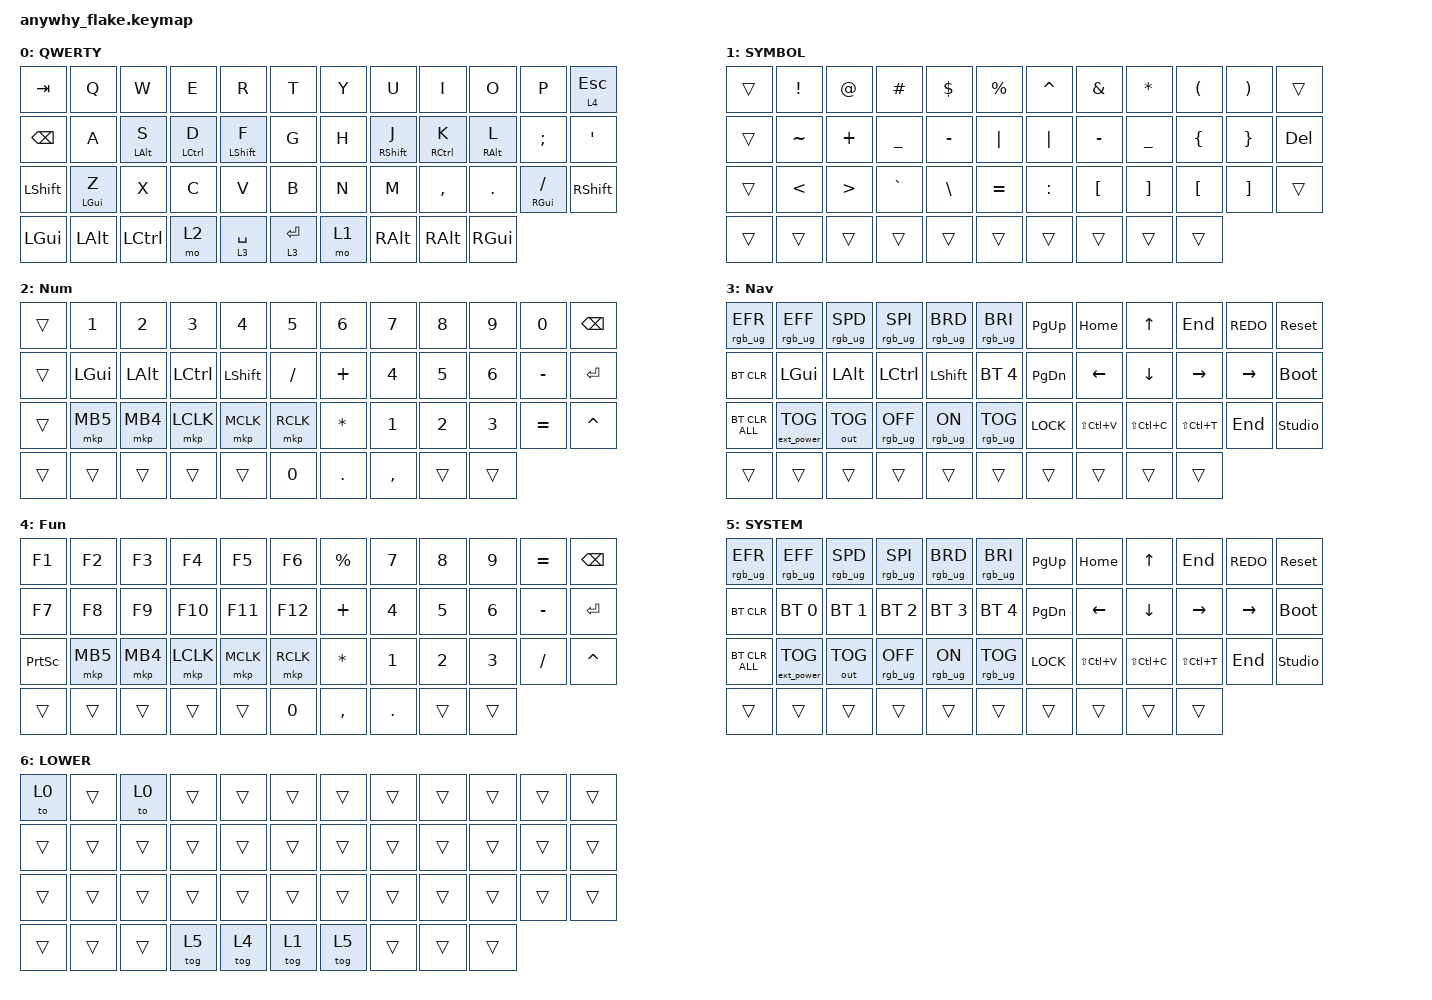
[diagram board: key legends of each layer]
#include <input/processors.dtsi>
#include <behaviors.dtsi>
#include <dt-bindings/zmk/bt.h>
#include <dt-bindings/zmk/ext_power.h>
#include <dt-bindings/zmk/keys.h>
#include <dt-bindings/zmk/outputs.h>
#include <dt-bindings/zmk/pointing.h>
#include <dt-bindings/zmk/rgb.h>

/*

   &mmv_input_listener {
       input-processors = <&zip_xy_scaler 2 1>;
   };

   &msc_input_listener {
       input-processors = <&zip_xy_scaler 2 1>;
   };

 */

/* pointing.h already defines these; undef first to avoid a redefinition warning */
#undef ZMK_POINTING_DEFAULT_MOVE_VAL
#undef ZMK_POINTING_DEFAULT_SCRL_VAL

#define ZMK_POINTING_DEFAULT_MOVE_VAL 1200  // 600
#define ZMK_POINTING_DEFAULT_SCRL_VAL 20    // 10

/ {
    conditional_layers {
        compatible = "zmk,conditional-layers";

        system_layer {
            // Num + symbol held together -> system
            if-layers = <2 1>;
            then-layer = <5>;
        };
    };

    behaviors {
        td0: td0 {
            compatible = "zmk,behavior-tap-dance";
            display-name = "Shift/Caps Lock Tap Dance";
            #binding-cells = <0>;
            bindings = <&kp LEFT_SHIFT>, <&kp CAPS>;
        };

        hrm_left: hrm_left {
            compatible = "zmk,behavior-hold-tap";
            label = "HRM_LEFT";
            bindings = <&kp>, <&kp>;

            #binding-cells = <2>;
            flavor = "balanced";
            tapping-term-ms = <280>;
            quick-tap-ms = <175>;
            require-prior-idle-ms = <175>;
            hold-trigger-on-release;
            hold-trigger-key-positions = <6 7 8 9 10 11 18 19 20 21 22 23 30 31 32 33 34 35 38 39 40 41 42 43>;
        };

        hrm_right: hrm_right {
            compatible = "zmk,behavior-hold-tap";
            label = "HRM_RIGHT";
            bindings = <&kp>, <&kp>;

            #binding-cells = <2>;
            flavor = "balanced";
            tapping-term-ms = <280>;
            quick-tap-ms = <175>;
            require-prior-idle-ms = <175>;
            hold-trigger-on-release;
            hold-trigger-key-positions = <0 1 2 3 4 5 12 13 14 15 16 17 24 25 26 27 28 29 38 39 40 41 42 43>;
        };

        layer_tap: layer_tap {
            compatible = "zmk,behavior-hold-tap";
            label = "LAYER_TAP";
            bindings = <&mo>, <&kp>;

            #binding-cells = <2>;
            quick-tap-ms = <175>;
            flavor = "tap-preferred";
            tapping-term-ms = <280>;
        };
    };


    combos {
        compatible = "zmk,combos";

        combo_lbrc {
            timeout-ms = <50>;
            key-positions = <4 5>; // KP: VB
            bindings = <&mt RBRC LBRC>;
            layers = <0 1 2 3 4 5>;
        };

        combo_rbrc {
            timeout-ms = <50>;
            key-positions = <6 7>; // KP: NM
            bindings = <&kp RBRC>;
            layers = <0 1 2 3 4 5>;
        };

        combo_lpar {
            timeout-ms = <50>;
            key-positions = <16 17>; // KP: FG
            bindings = <&mt RPAR LPAR>;
            layers = <0 1 2 3 4 5>;
        };

        combo_rpar {
            timeout-ms = <50>;
            key-positions = <18 19>;
            bindings = <&kp RPAR>;
            layers = <0 1 2 3 4 5>;
        };

        combo_lbkt {
            timeout-ms = <50>;
            key-positions = <28 29>; // KP: RT
            bindings = <&mt RBKT LBKT>;
            layers = <0 1 2 3 4 5>;
        };

        combo_rbkt {
            timeout-ms = <50>;
            key-positions = <30 31>; // KP: YU
            bindings = <&kp RBKT>;
            layers = <0 1 2 3 4 5>;
        };

        esc {
            timeout-ms = <50>;
            key-positions = <0 1>;
            bindings = <&kp ESC>; // ESC
            layers = <0>;
        };

        up {
            bindings = <&kp UP>;
            key-positions = <3 4>;
            layers = <0>;
            timeout-ms = <50>;
        };

        down {
            bindings = <&kp DOWN>;
            key-positions = <27 28>;
            timeout-ms = <50>;
            layers = <0>;
        };

        left {
            bindings = <&kp LEFT>;
            key-positions = <14 15>;
            layers = <0>;
            timeout-ms = <50>;
        };

        right {
            bindings = <&kp RIGHT>;
            key-positions = <15 16>;
            layers = <0>;
            timeout-ms = <50>;
        };
    };


    keymap {
        compatible = "zmk,keymap";

        qwerty {
            display-name = "QWERTY";
            bindings = <
  &kp TAB  &kp Q  &kp W  &kp E  &kp R  &kp T  &kp Y  &kp U  &kp I  &kp O  &kp P  &lt 4 ESC
  &kp BACKSPACE  &kp A  &hrm_left LALT S  &hrm_left LCTRL D  &hrm_left LSHFT F  &kp G  &kp H  &hrm_right RSHFT J  &hrm_right RCTRL K  &hrm_right RALT L  &kp SEMICOLON  &kp SQT
  &kp LEFT_SHIFT  &hrm_left LEFT_GUI Z  &kp X  &kp C  &kp V  &kp B  &kp N  &kp M  &kp COMMA  &kp DOT  &hrm_right RIGHT_GUI SLASH  &kp RIGHT_SHIFT
  &kp LEFT_GUI  &kp LEFT_ALT  &kp LEFT_CONTROL  &mo 2  &layer_tap 3 SPACE  &layer_tap 3 ENTER  &mo 1  &kp RIGHT_ALT  &kp RIGHT_ALT  &kp RIGHT_GUI
            >;
        };

        symbol {
            label = "SYMBOL";
            bindings = <
  &trans  &kp EXCLAMATION  &kp AT_SIGN  &kp HASH  &kp DOLLAR  &kp PERCENT  &kp CARET  &kp AMPERSAND  &kp ASTERISK  &kp LEFT_PARENTHESIS  &kp RIGHT_PARENTHESIS  &trans
  &trans  &kp TILDE  &kp PLUS  &kp UNDERSCORE  &kp MINUS  &kp PIPE  &kp PIPE  &kp MINUS  &kp UNDERSCORE  &kp LEFT_BRACE  &kp RIGHT_BRACE  &kp DELETE
  &trans  &kp LESS_THAN  &kp GREATER_THAN  &kp GRAVE  &kp BACKSLASH  &kp EQUAL  &kp COLON  &kp LEFT_BRACKET  &kp RIGHT_BRACKET  &kp LEFT_BRACKET  &kp RIGHT_BRACKET  &trans
  &trans  &trans  &trans  &trans  &trans  &trans  &trans  &trans  &trans  &trans
            >;
        };

        Num {
            label = "Num";
            bindings = <
  &trans  &kp N1  &kp N2  &kp N3  &kp N4  &kp N5  &kp N6  &kp N7  &kp N8  &kp N9  &kp N0  &kp BACKSPACE
  &trans  &kp LEFT_GUI  &kp LEFT_ALT  &kp LEFT_CONTROL  &kp LEFT_SHIFT  &kp SLASH  &kp PLUS  &kp N4  &kp N5  &kp N6  &kp MINUS  &kp ENTER
  &trans  &mkp MB5  &mkp MB4  &mkp LCLK  &mkp MCLK  &mkp RCLK  &kp ASTERISK  &kp N1  &kp N2  &kp N3  &kp EQUAL  &kp CARET
  &trans  &trans  &trans  &trans  &trans  &kp N0  &kp PERIOD  &kp COMMA  &trans  &trans
            >;
        };

        Nav {
            display-name = "Nav";
            bindings = <
  &rgb_ug RGB_EFR  &rgb_ug RGB_EFF  &rgb_ug RGB_SPD  &rgb_ug RGB_SPI  &rgb_ug RGB_BRD  &rgb_ug RGB_BRI  &kp PAGE_UP  &kp HOME  &kp UP_ARROW  &kp END  &kp K_REDO  &sys_reset
  &bt BT_CLR  &kp LEFT_GUI  &kp LEFT_ALT  &kp LEFT_CONTROL  &kp LEFT_SHIFT  &bt BT_SEL 4  &kp PAGE_DOWN  &kp LEFT_ARROW  &kp DOWN_ARROW  &kp RIGHT  &kp RIGHT  &bootloader
  &bt BT_CLR_ALL  &ext_power EP_TOG  &out OUT_TOG  &rgb_ug RGB_OFF  &rgb_ug RGB_ON  &rgb_ug RGB_TOG  &kp K_LOCK  &kp LS(LC(V))  &kp LS(LC(C))  &kp LS(LC(T))  &kp END  &studio_unlock
  &trans  &trans  &trans  &trans  &trans  &trans  &trans  &trans  &trans  &trans
            >;
        };

        Fun {
            label = "Fun";
            bindings = <
  &kp F1  &kp F2  &kp F3  &kp F4  &kp F5  &kp F6  &kp PERCENT  &kp N7  &kp N8  &kp N9  &kp EQUAL  &kp BACKSPACE
  &kp F7  &kp F8  &kp F9  &kp F10  &kp F11  &kp F12  &kp PLUS  &kp N4  &kp N5  &kp N6  &kp MINUS  &kp ENTER
  &kp PRINTSCREEN  &mkp MB5  &mkp MB4  &mkp LCLK  &mkp MCLK  &mkp RCLK  &kp ASTERISK  &kp N1  &kp N2  &kp N3  &kp FSLH  &kp CARET
  &trans  &trans  &trans  &trans  &trans  &kp N0  &kp COMMA  &kp DOT  &trans  &trans
            >;
        };

        system {
            display-name = "SYSTEM";
            bindings = <
  &rgb_ug RGB_EFR  &rgb_ug RGB_EFF  &rgb_ug RGB_SPD  &rgb_ug RGB_SPI  &rgb_ug RGB_BRD  &rgb_ug RGB_BRI  &kp PAGE_UP  &kp HOME  &kp UP_ARROW  &kp END  &kp K_REDO  &sys_reset
  &bt BT_CLR  &bt BT_SEL 0  &bt BT_SEL 1  &bt BT_SEL 2  &bt BT_SEL 3  &bt BT_SEL 4  &kp PAGE_DOWN  &kp LEFT_ARROW  &kp DOWN_ARROW  &kp RIGHT  &kp RIGHT  &bootloader
  &bt BT_CLR_ALL  &ext_power EP_TOG  &out OUT_TOG  &rgb_ug RGB_OFF  &rgb_ug RGB_ON  &rgb_ug RGB_TOG  &kp K_LOCK  &kp LS(LC(V))  &kp LS(LC(C))  &kp LS(LC(T))  &kp END  &studio_unlock
  &trans  &trans  &trans  &trans  &trans  &trans  &trans  &trans  &trans  &trans
            >;
        };

        lower {
            label = "LOWER";
            bindings = <
  &to 0  &trans  &to 0  &trans  &trans  &trans  &trans  &trans  &trans  &trans  &trans  &trans
  &trans  &trans  &trans  &trans  &trans  &trans  &trans  &trans  &trans  &trans  &trans  &trans
  &trans  &trans  &trans  &trans  &trans  &trans  &trans  &trans  &trans  &trans  &trans  &trans
  &trans  &trans  &trans  &tog 5  &tog 4  &tog 1  &tog 5  &trans  &trans  &trans
            >;
        };

    };
};
